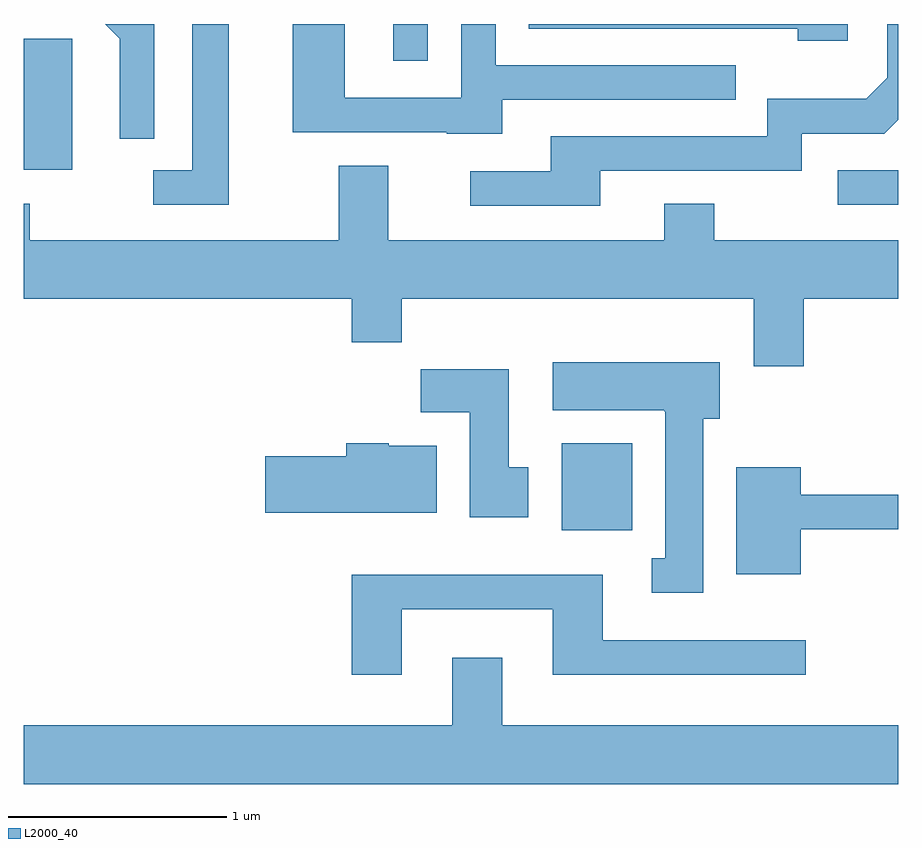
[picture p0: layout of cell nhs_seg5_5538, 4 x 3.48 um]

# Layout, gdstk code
import gdstk
lib = gdstk.Library(unit=1e-6, precision=1e-09)
def R(c, l, rs):  # rectangles x0, y0, x1, y1
    for r in rs: c.add(gdstk.rectangle(r[:2], r[2:], *l))
def P(c, l, *ps):  # polygons
    for p in ps: c.add(gdstk.Polygon(p, *l))
L2000_40 = (2000, 40)

nhs_seg5_5538 = lib.new_cell('nhs_seg5_5538')
R(nhs_seg5_5538, L2000_40, [(352.071,1435.756,352.394,1436.154), (353.333,1437.246,353.611,1437.404), (349.611,1437.406,349.834,1438.004), (351.301,1437.903,351.459,1438.072)])
P(nhs_seg5_5538, L2000_40, [(351.799,1437.726),(352.868,1437.726),(352.868,1437.884),(351.769,1437.884),(351.769,1438.072),(351.611,1438.072),(351.611,1437.734),(351.079,1437.734),(351.079,1438.072),(350.841,1438.072),(350.841,1437.576),(351.545,1437.576),(351.545,1437.571),(351.799,1437.571)],
  [(350.549,1438.072),(350.381,1438.072),(350.381,1437.404),(350.203,1437.404),(350.203,1437.246),(350.549,1437.246)],
  [(352.249,1437.401),(353.169,1437.401),(353.169,1437.571),(353.547,1437.571),(353.611,1437.635),(353.611,1438.072),(353.561,1438.072),(353.561,1437.827),(353.464,1437.729),(353.011,1437.729),(353.011,1437.559),(352.021,1437.559),(352.021,1437.399),(351.653,1437.399),(351.653,1437.241),(352.249,1437.241)],
  [(350.209,1438.072),(349.983,1438.072),(350.051,1438.004),(350.051,1437.548),(350.209,1437.548)],
  [(353.379,1438.072),(351.921,1438.072),(351.921,1438.051),(353.151,1438.051),(353.151,1437.996),(353.379,1437.996)],
  [(353.179,1436.816),(353.611,1436.816),(353.611,1437.084),(352.769,1437.084),(352.769,1437.249),(352.541,1437.249),(352.541,1437.084),(351.279,1437.084),(351.279,1437.424),(351.051,1437.424),(351.051,1437.084),(349.639,1437.084),(349.639,1437.249),(349.611,1437.249),(349.611,1436.816),(351.111,1436.816),(351.111,1436.616),(351.339,1436.616),(351.339,1436.816),(352.951,1436.816),(352.951,1436.506),(353.179,1436.506)],
  [(352.719,1436.266),(352.794,1436.266),(352.794,1436.524),(352.031,1436.524),(352.031,1436.306),(352.54,1436.306),(352.54,1436.3),(352.546,1436.3),(352.546,1435.629),(352.483,1435.629),(352.483,1435.471),(352.719,1435.471)],
  [(351.919,1436.044),(351.829,1436.044),(351.829,1436.494),(351.426,1436.494),(351.426,1436.296),(351.651,1436.296),(351.651,1435.816),(351.919,1435.816)],
  [(351.499,1436.144),(351.28,1436.144),(351.28,1436.154),(351.086,1436.154),(351.086,1436.094),(350.716,1436.094),(350.716,1435.836),(351.499,1435.836)],
  [(353.164,1435.761),(353.611,1435.761),(353.611,1435.919),(353.164,1435.919),(353.164,1436.044),(352.871,1436.044),(352.871,1435.556),(353.164,1435.556)],
  [(351.339,1435.396),(352.031,1435.396),(352.031,1435.096),(353.188,1435.096),(353.188,1435.254),(352.259,1435.254),(352.259,1435.554),(351.111,1435.554),(351.111,1435.096),(351.339,1435.096)],
  [(353.611,1434.864),(351.799,1434.864),(351.799,1435.174),(351.571,1435.174),(351.571,1434.864),(349.611,1434.864),(349.611,1434.596),(353.611,1434.596)])

lib.write_gds('nhs_seg5_5538.gds')
